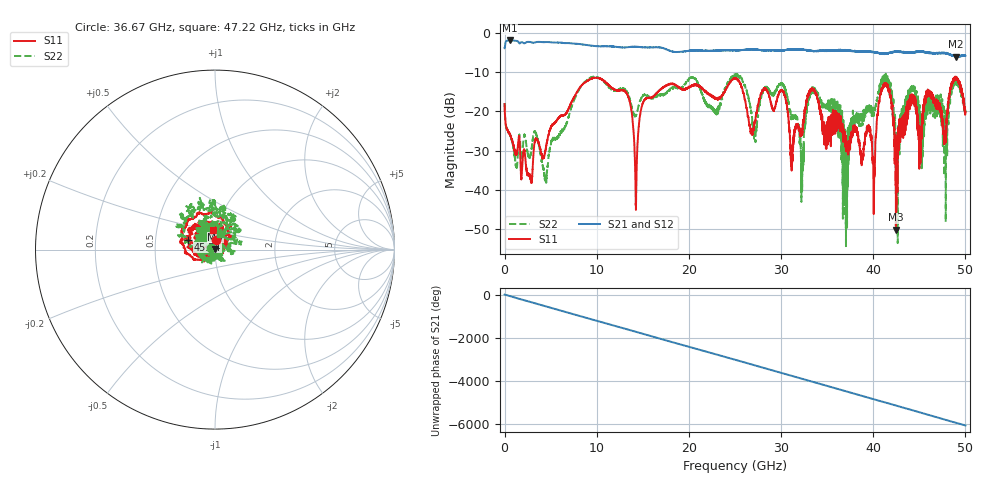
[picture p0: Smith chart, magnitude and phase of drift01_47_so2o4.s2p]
!Created with skrf (http://scikit-rf.org).
# Hz S RI R 50.0
!freq ReS11 ImS11 ReS21 ImS21 ReS12 ImS12 ReS22 ImS22
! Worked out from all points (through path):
!   10001 points, 300 kHz to 50 GHz, reference 50 ohm
!   highest |S21| = -2.00 dB at 580.3 MHz (marker M1); lowest = -6.1 dB at 48.98 GHz (marker M2)
!   group delay of S21, straight-line fit = 336 ps
!   lowest |S11| = -50.1 dB at 42.47 GHz (marker M3), VSWR 1.01, Z = 50.1 + j0.287 ohm
!   |S11| at or under -10 dB: start of sweep to end of sweep
!   |S22| runs from -54.3 to -10.4 dB; largest |S21 - S12| = 0.021
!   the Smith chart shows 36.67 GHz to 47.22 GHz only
!   S11 on the Smith chart (normalised r, x): 36.67 GHz: 1.01, +0.11; 45.74 GHz: 0.73, +0.08; 47.22 GHz: 0.96, +0.21
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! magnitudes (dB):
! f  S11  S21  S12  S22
! 300 kHz  -18.2  -4.0  -4.1  -17.9
! 580.3 MHz  -26.0  -2.0  -2.0  -26.1
! 4.435 GHz  -30.0  -2.4  -2.4  -37.0
! 8.335 GHz  -13.5  -3.0  -3.0  -13.5
! 13.17 GHz  -15.2  -3.7  -3.7  -14.7
! 14.25 GHz  -45.1  -3.6  -3.6  -21.1
! 16.67 GHz  -14.9  -3.7  -3.7  -15.9
! 25 GHz  -11.6  -4.5  -4.6  -11.0
! 27.14 GHz  -22.6  -4.3  -4.3  -25.7
! 30.19 GHz  -15.0  -4.5  -4.6  -13.3
! 31.15 GHz  -35.1  -4.3  -4.3  -21.1
! 32.23 GHz  -24.5  -4.4  -4.3  -39.8
! 33.34 GHz  -14.4  -4.7  -4.6  -14.7
! 36.67 GHz  -25.5  -4.5  -4.4  -33.0
! 40.07 GHz  -44.3  -4.9  -4.9  -20.3
! 41.67 GHz  -14.6  -5.1  -5.2  -12.7
! 42.47 GHz  -50.1  -4.8  -4.9  -33.0
! 44.14 GHz  -17.2  -5.0  -5.1  -14.3
! 45.74 GHz  -15.8  -5.0  -5.0  -19.5
! 47.22 GHz  -19.2  -5.2  -5.2  -20.7
! 48.98 GHz  -11.4  -6.1  -6.1  -12.9
! 50 GHz  -20.2  -5.9  -5.8  -20.2
